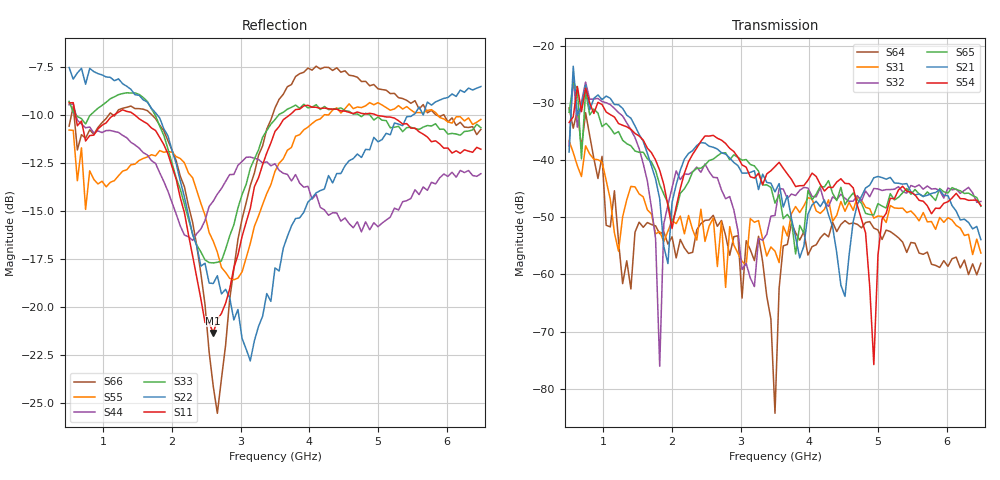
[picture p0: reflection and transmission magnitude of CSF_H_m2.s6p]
!Keysight Technologies,M9804A,MY58100912,A.14.10.03
!Date: Thursday, April 27, 2023 10:28:33
!Correction: S11(C  6-Port  )
!S12(C  6-Port  )
!S13(C  6-Port  )
!S14(C  6-Port  )
!S15(C  6-Port  )
!S16(C  6-Port  )
!S21(C  6-Port  )
!S22(C  6-Port  )
!S23(C  6-Port  )
!S24(C  6-Port  )
!S25(C  6-Port  )
!S26(C  6-Port  )
!S31(C  6-Port  )
!S32(C  6-Port  )
!S33(C  6-Port  )
!S34(C  6-Port  )
!S35(C  6-Port  )
!S36(C  6-Port  )
!S41(C  6-Port  )
!S42(C  6-Port  )
!S43(C  6-Port  )
!S44(C  6-Port  )
!S45(C  6-Port  )
!S46(C  6-Port  )
!S51(C  6-Port  )
!S52(C  6-Port  )
!S53(C  6-Port  )
!S54(C  6-Port  )
!S55(C  6-Port  )
!S56(C  6-Port  )
!S61(C  6-Port  )
!S62(C  6-Port  )
!S63(C  6-Port  )
!S64(C  6-Port  )
!S65(C  6-Port  )
!S66(C  6-Port  )
!S6P File: Measurement: :
# Hz S  RI  R 50
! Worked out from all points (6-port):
!   101 points, 500 MHz to 6.5 GHz, reference 50 ohm
!   strongest paths, dB at 500 MHz, 2 GHz, 3.5 GHz, 5 GHz, 6.5 GHz:
!     S54: -33.4, -52.0, -41.1, -56.7, -48.0
!     S21: -38.6, -47.4, -45.6, -42.9, -53.9
!     S65: -31.6, -50.8, -47.5, -47.6, -48.1
!     S32: -37.5, -44.8, -49.7, -45.0, -47.2
!     S31: -36.7, -50.6, -55.9, -49.8, -56.3
!     S64: -30.9, -53.4, -84.3, -52.2, -58.1
!   lowest |S11| = -21.4 dB at 2.6 GHz (marker M1), VSWR 1.19, Z = 42.4 + j2.24 ohm
!   |S11| at or under -10 dB: 592.7 MHz to 1.148 GHz (555.4 MHz wide, 63.8 % of centre); 1.461 GHz to 3.708 GHz (2.246 GHz wide, 86.9 % of centre); 4.984 GHz to end of sweep
